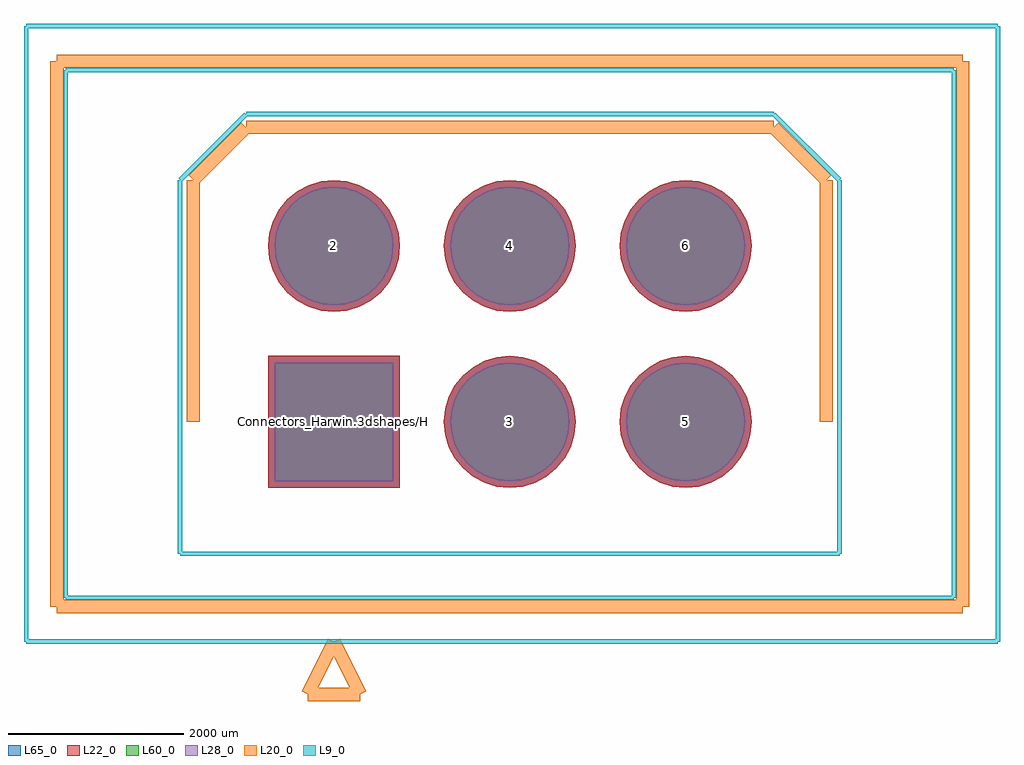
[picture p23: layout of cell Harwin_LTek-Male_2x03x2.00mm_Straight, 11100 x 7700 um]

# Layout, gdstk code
import gdstk
lib = gdstk.Library(unit=1e-6, precision=1e-09)
def R(c, l, rs):  # rectangles x0, y0, x1, y1
    for r in rs: c.add(gdstk.rectangle(r[:2], r[2:], *l))
def P(c, l, *ps):  # polygons
    for p in ps: c.add(gdstk.Polygon(p, *l))
L9_0 = (9, 0)
L20_0 = (20, 0)
L22_0 = (22, 0)
L28_0 = (28, 0)
L60_0 = (60, 0)
L65_0 = (65, 0)

harwin_ltek_male_2x03x2_ = lib.new_cell('Harwin_LTek-Male_2x03x2.00mm_Straight')
R(harwin_ltek_male_2x03x2_, L22_0, [(-750,-750,750,750)])
P(harwin_ltek_male_2x03x2_, L22_0, [(4750,2000),(4735.589,2146.318),(4692.91,2287.013),(4623.602,2416.678),(4530.33,2530.33),(4416.678,2623.602),(4287.013,2692.91),(4146.318,2735.589),(4000,2750),(3853.682,2735.589),(3712.987,2692.91),(3583.322,2623.602),(3469.67,2530.33),(3376.398,2416.678),(3307.09,2287.013),(3264.411,2146.318),(3250,2000),(3264.411,1853.682),(3307.09,1712.987),(3376.398,1583.322),(3469.67,1469.67),(3583.322,1376.398),(3712.987,1307.09),(3853.682,1264.411),(4000,1250),(4146.318,1264.411),(4287.013,1307.09),(4416.678,1376.398),(4530.33,1469.67),(4623.602,1583.322),(4692.91,1712.987),(4735.589,1853.682)],
  [(2750,2000),(2735.589,2146.318),(2692.91,2287.013),(2623.602,2416.678),(2530.33,2530.33),(2416.678,2623.602),(2287.013,2692.91),(2146.318,2735.589),(2000,2750),(1853.682,2735.589),(1712.987,2692.91),(1583.322,2623.602),(1469.67,2530.33),(1376.398,2416.678),(1307.09,2287.013),(1264.411,2146.318),(1250,2000),(1264.411,1853.682),(1307.09,1712.987),(1376.398,1583.322),(1469.67,1469.67),(1583.322,1376.398),(1712.987,1307.09),(1853.682,1264.411),(2000,1250),(2146.318,1264.411),(2287.013,1307.09),(2416.678,1376.398),(2530.33,1469.67),(2623.602,1583.322),(2692.91,1712.987),(2735.589,1853.682)],
  [(750,2000),(735.589,2146.318),(692.91,2287.013),(623.602,2416.678),(530.33,2530.33),(416.678,2623.602),(287.013,2692.91),(146.318,2735.589),(0,2750),(-146.318,2735.589),(-287.013,2692.91),(-416.678,2623.602),(-530.33,2530.33),(-623.602,2416.678),(-692.91,2287.013),(-735.589,2146.318),(-750,2000),(-735.589,1853.682),(-692.91,1712.987),(-623.602,1583.322),(-530.33,1469.67),(-416.678,1376.398),(-287.013,1307.09),(-146.318,1264.411),(0,1250),(146.318,1264.411),(287.013,1307.09),(416.678,1376.398),(530.33,1469.67),(623.602,1583.322),(692.91,1712.987),(735.589,1853.682)],
  [(4750,0),(4735.589,146.318),(4692.91,287.013),(4623.602,416.678),(4530.33,530.33),(4416.678,623.602),(4287.013,692.91),(4146.318,735.589),(4000,750),(3853.682,735.589),(3712.987,692.91),(3583.322,623.602),(3469.67,530.33),(3376.398,416.678),(3307.09,287.013),(3264.411,146.318),(3250,0),(3264.411,-146.318),(3307.09,-287.013),(3376.398,-416.678),(3469.67,-530.33),(3583.322,-623.602),(3712.987,-692.91),(3853.682,-735.589),(4000,-750),(4146.318,-735.589),(4287.013,-692.91),(4416.678,-623.602),(4530.33,-530.33),(4623.602,-416.678),(4692.91,-287.013),(4735.589,-146.318)],
  [(2750,0),(2735.589,146.318),(2692.91,287.013),(2623.602,416.678),(2530.33,530.33),(2416.678,623.602),(2287.013,692.91),(2146.318,735.589),(2000,750),(1853.682,735.589),(1712.987,692.91),(1583.322,623.602),(1469.67,530.33),(1376.398,416.678),(1307.09,287.013),(1264.411,146.318),(1250,0),(1264.411,-146.318),(1307.09,-287.013),(1376.398,-416.678),(1469.67,-530.33),(1583.322,-623.602),(1712.987,-692.91),(1853.682,-735.589),(2000,-750),(2146.318,-735.589),(2287.013,-692.91),(2416.678,-623.602),(2530.33,-530.33),(2623.602,-416.678),(2692.91,-287.013),(2735.589,-146.318)])
R(harwin_ltek_male_2x03x2_, L28_0, [(-675,-675,675,675)])
P(harwin_ltek_male_2x03x2_, L28_0, [(4675,2000),(4662.03,2131.686),(4623.619,2258.311),(4561.242,2375.01),(4477.297,2477.297),(4375.01,2561.242),(4258.311,2623.619),(4131.686,2662.03),(4000,2675),(3868.314,2662.03),(3741.689,2623.619),(3624.99,2561.242),(3522.703,2477.297),(3438.758,2375.01),(3376.381,2258.311),(3337.97,2131.686),(3325,2000),(3337.97,1868.314),(3376.381,1741.689),(3438.758,1624.99),(3522.703,1522.703),(3624.99,1438.758),(3741.689,1376.381),(3868.314,1337.97),(4000,1325),(4131.686,1337.97),(4258.311,1376.381),(4375.01,1438.758),(4477.297,1522.703),(4561.242,1624.99),(4623.619,1741.689),(4662.03,1868.314)],
  [(2675,2000),(2662.03,2131.686),(2623.619,2258.311),(2561.242,2375.01),(2477.297,2477.297),(2375.01,2561.242),(2258.311,2623.619),(2131.686,2662.03),(2000,2675),(1868.314,2662.03),(1741.689,2623.619),(1624.99,2561.242),(1522.703,2477.297),(1438.758,2375.01),(1376.381,2258.311),(1337.97,2131.686),(1325,2000),(1337.97,1868.314),(1376.381,1741.689),(1438.758,1624.99),(1522.703,1522.703),(1624.99,1438.758),(1741.689,1376.381),(1868.314,1337.97),(2000,1325),(2131.686,1337.97),(2258.311,1376.381),(2375.01,1438.758),(2477.297,1522.703),(2561.242,1624.99),(2623.619,1741.689),(2662.03,1868.314)],
  [(675,2000),(662.03,2131.686),(623.619,2258.311),(561.242,2375.01),(477.297,2477.297),(375.01,2561.242),(258.311,2623.619),(131.686,2662.03),(0,2675),(-131.686,2662.03),(-258.311,2623.619),(-375.01,2561.242),(-477.297,2477.297),(-561.242,2375.01),(-623.619,2258.311),(-662.03,2131.686),(-675,2000),(-662.03,1868.314),(-623.619,1741.689),(-561.242,1624.99),(-477.297,1522.703),(-375.01,1438.758),(-258.311,1376.381),(-131.686,1337.97),(0,1325),(131.686,1337.97),(258.311,1376.381),(375.01,1438.758),(477.297,1522.703),(561.242,1624.99),(623.619,1741.689),(662.03,1868.314)],
  [(4675,0),(4662.03,131.686),(4623.619,258.311),(4561.242,375.01),(4477.297,477.297),(4375.01,561.242),(4258.311,623.619),(4131.686,662.03),(4000,675),(3868.314,662.03),(3741.689,623.619),(3624.99,561.242),(3522.703,477.297),(3438.758,375.01),(3376.381,258.311),(3337.97,131.686),(3325,0),(3337.97,-131.686),(3376.381,-258.311),(3438.758,-375.01),(3522.703,-477.297),(3624.99,-561.242),(3741.689,-623.619),(3868.314,-662.03),(4000,-675),(4131.686,-662.03),(4258.311,-623.619),(4375.01,-561.242),(4477.297,-477.297),(4561.242,-375.01),(4623.619,-258.311),(4662.03,-131.686)],
  [(2675,0),(2662.03,131.686),(2623.619,258.311),(2561.242,375.01),(2477.297,477.297),(2375.01,561.242),(2258.311,623.619),(2131.686,662.03),(2000,675),(1868.314,662.03),(1741.689,623.619),(1624.99,561.242),(1522.703,477.297),(1438.758,375.01),(1376.381,258.311),(1337.97,131.686),(1325,0),(1337.97,-131.686),(1376.381,-258.311),(1438.758,-375.01),(1522.703,-477.297),(1624.99,-561.242),(1741.689,-623.619),(1868.314,-662.03),(2000,-675),(2131.686,-662.03),(2258.311,-623.619),(2375.01,-561.242),(2477.297,-477.297),(2561.242,-375.01),(2623.619,-258.311),(2662.03,-131.686)])
R(harwin_ltek_male_2x03x2_, L60_0, [(-675,-675,675,675)])
P(harwin_ltek_male_2x03x2_, L60_0, [(4675,2000),(4662.03,2131.686),(4623.619,2258.311),(4561.242,2375.01),(4477.297,2477.297),(4375.01,2561.242),(4258.311,2623.619),(4131.686,2662.03),(4000,2675),(3868.314,2662.03),(3741.689,2623.619),(3624.99,2561.242),(3522.703,2477.297),(3438.758,2375.01),(3376.381,2258.311),(3337.97,2131.686),(3325,2000),(3337.97,1868.314),(3376.381,1741.689),(3438.758,1624.99),(3522.703,1522.703),(3624.99,1438.758),(3741.689,1376.381),(3868.314,1337.97),(4000,1325),(4131.686,1337.97),(4258.311,1376.381),(4375.01,1438.758),(4477.297,1522.703),(4561.242,1624.99),(4623.619,1741.689),(4662.03,1868.314)],
  [(2675,2000),(2662.03,2131.686),(2623.619,2258.311),(2561.242,2375.01),(2477.297,2477.297),(2375.01,2561.242),(2258.311,2623.619),(2131.686,2662.03),(2000,2675),(1868.314,2662.03),(1741.689,2623.619),(1624.99,2561.242),(1522.703,2477.297),(1438.758,2375.01),(1376.381,2258.311),(1337.97,2131.686),(1325,2000),(1337.97,1868.314),(1376.381,1741.689),(1438.758,1624.99),(1522.703,1522.703),(1624.99,1438.758),(1741.689,1376.381),(1868.314,1337.97),(2000,1325),(2131.686,1337.97),(2258.311,1376.381),(2375.01,1438.758),(2477.297,1522.703),(2561.242,1624.99),(2623.619,1741.689),(2662.03,1868.314)],
  [(675,2000),(662.03,2131.686),(623.619,2258.311),(561.242,2375.01),(477.297,2477.297),(375.01,2561.242),(258.311,2623.619),(131.686,2662.03),(0,2675),(-131.686,2662.03),(-258.311,2623.619),(-375.01,2561.242),(-477.297,2477.297),(-561.242,2375.01),(-623.619,2258.311),(-662.03,2131.686),(-675,2000),(-662.03,1868.314),(-623.619,1741.689),(-561.242,1624.99),(-477.297,1522.703),(-375.01,1438.758),(-258.311,1376.381),(-131.686,1337.97),(0,1325),(131.686,1337.97),(258.311,1376.381),(375.01,1438.758),(477.297,1522.703),(561.242,1624.99),(623.619,1741.689),(662.03,1868.314)],
  [(4675,0),(4662.03,131.686),(4623.619,258.311),(4561.242,375.01),(4477.297,477.297),(4375.01,561.242),(4258.311,623.619),(4131.686,662.03),(4000,675),(3868.314,662.03),(3741.689,623.619),(3624.99,561.242),(3522.703,477.297),(3438.758,375.01),(3376.381,258.311),(3337.97,131.686),(3325,0),(3337.97,-131.686),(3376.381,-258.311),(3438.758,-375.01),(3522.703,-477.297),(3624.99,-561.242),(3741.689,-623.619),(3868.314,-662.03),(4000,-675),(4131.686,-662.03),(4258.311,-623.619),(4375.01,-561.242),(4477.297,-477.297),(4561.242,-375.01),(4623.619,-258.311),(4662.03,-131.686)],
  [(2675,0),(2662.03,131.686),(2623.619,258.311),(2561.242,375.01),(2477.297,477.297),(2375.01,561.242),(2258.311,623.619),(2131.686,662.03),(2000,675),(1868.314,662.03),(1741.689,623.619),(1624.99,561.242),(1522.703,477.297),(1438.758,375.01),(1376.381,258.311),(1337.97,131.686),(1325,0),(1337.97,-131.686),(1376.381,-258.311),(1438.758,-375.01),(1522.703,-477.297),(1624.99,-561.242),(1741.689,-623.619),(1868.314,-662.03),(2000,-675),(2131.686,-662.03),(2258.311,-623.619),(2375.01,-561.242),(2477.297,-477.297),(2561.242,-375.01),(2623.619,-258.311),(2662.03,-131.686)])
R(harwin_ltek_male_2x03x2_, L65_0, [(-750,-750,750,750)])
P(harwin_ltek_male_2x03x2_, L65_0, [(4750,2000),(4735.589,2146.318),(4692.91,2287.013),(4623.602,2416.678),(4530.33,2530.33),(4416.678,2623.602),(4287.013,2692.91),(4146.318,2735.589),(4000,2750),(3853.682,2735.589),(3712.987,2692.91),(3583.322,2623.602),(3469.67,2530.33),(3376.398,2416.678),(3307.09,2287.013),(3264.411,2146.318),(3250,2000),(3264.411,1853.682),(3307.09,1712.987),(3376.398,1583.322),(3469.67,1469.67),(3583.322,1376.398),(3712.987,1307.09),(3853.682,1264.411),(4000,1250),(4146.318,1264.411),(4287.013,1307.09),(4416.678,1376.398),(4530.33,1469.67),(4623.602,1583.322),(4692.91,1712.987),(4735.589,1853.682)],
  [(2750,2000),(2735.589,2146.318),(2692.91,2287.013),(2623.602,2416.678),(2530.33,2530.33),(2416.678,2623.602),(2287.013,2692.91),(2146.318,2735.589),(2000,2750),(1853.682,2735.589),(1712.987,2692.91),(1583.322,2623.602),(1469.67,2530.33),(1376.398,2416.678),(1307.09,2287.013),(1264.411,2146.318),(1250,2000),(1264.411,1853.682),(1307.09,1712.987),(1376.398,1583.322),(1469.67,1469.67),(1583.322,1376.398),(1712.987,1307.09),(1853.682,1264.411),(2000,1250),(2146.318,1264.411),(2287.013,1307.09),(2416.678,1376.398),(2530.33,1469.67),(2623.602,1583.322),(2692.91,1712.987),(2735.589,1853.682)],
  [(750,2000),(735.589,2146.318),(692.91,2287.013),(623.602,2416.678),(530.33,2530.33),(416.678,2623.602),(287.013,2692.91),(146.318,2735.589),(0,2750),(-146.318,2735.589),(-287.013,2692.91),(-416.678,2623.602),(-530.33,2530.33),(-623.602,2416.678),(-692.91,2287.013),(-735.589,2146.318),(-750,2000),(-735.589,1853.682),(-692.91,1712.987),(-623.602,1583.322),(-530.33,1469.67),(-416.678,1376.398),(-287.013,1307.09),(-146.318,1264.411),(0,1250),(146.318,1264.411),(287.013,1307.09),(416.678,1376.398),(530.33,1469.67),(623.602,1583.322),(692.91,1712.987),(735.589,1853.682)],
  [(4750,0),(4735.589,146.318),(4692.91,287.013),(4623.602,416.678),(4530.33,530.33),(4416.678,623.602),(4287.013,692.91),(4146.318,735.589),(4000,750),(3853.682,735.589),(3712.987,692.91),(3583.322,623.602),(3469.67,530.33),(3376.398,416.678),(3307.09,287.013),(3264.411,146.318),(3250,0),(3264.411,-146.318),(3307.09,-287.013),(3376.398,-416.678),(3469.67,-530.33),(3583.322,-623.602),(3712.987,-692.91),(3853.682,-735.589),(4000,-750),(4146.318,-735.589),(4287.013,-692.91),(4416.678,-623.602),(4530.33,-530.33),(4623.602,-416.678),(4692.91,-287.013),(4735.589,-146.318)],
  [(2750,0),(2735.589,146.318),(2692.91,287.013),(2623.602,416.678),(2530.33,530.33),(2416.678,623.602),(2287.013,692.91),(2146.318,735.589),(2000,750),(1853.682,735.589),(1712.987,692.91),(1583.322,623.602),(1469.67,530.33),(1376.398,416.678),(1307.09,287.013),(1264.411,146.318),(1250,0),(1264.411,-146.318),(1307.09,-287.013),(1376.398,-416.678),(1469.67,-530.33),(1583.322,-623.602),(1712.987,-692.91),(1853.682,-735.589),(2000,-750),(2146.318,-735.589),(2287.013,-692.91),(2416.678,-623.602),(2530.33,-530.33),(2623.602,-416.678),(2692.91,-287.013),(2735.589,-146.318)])
harwin_ltek_male_2x03x2_.add(gdstk.FlexPath([(300,-3100),(0,-2500)], 149.998, ends="flush", simple_path=True, layer=20, datatype=0))  # L20_0
harwin_ltek_male_2x03x2_.add(gdstk.FlexPath([(-300,-3100),(300,-3100)], 149.998, ends="flush", simple_path=True, layer=20, datatype=0))  # L20_0
harwin_ltek_male_2x03x2_.add(gdstk.FlexPath([(0,-2500),(-300,-3100)], 149.998, ends="flush", simple_path=True, layer=20, datatype=0))  # L20_0
harwin_ltek_male_2x03x2_.add(gdstk.FlexPath([(5000,3350),(2000,3350)], 149.998, ends="flush", simple_path=True, layer=20, datatype=0))  # L20_0
harwin_ltek_male_2x03x2_.add(gdstk.FlexPath([(5600,2750),(5000,3350)], 149.998, ends="flush", simple_path=True, layer=20, datatype=0))  # L20_0
harwin_ltek_male_2x03x2_.add(gdstk.FlexPath([(5600,0),(5600,2750)], 149.998, ends="flush", simple_path=True, layer=20, datatype=0))  # L20_0
harwin_ltek_male_2x03x2_.add(gdstk.FlexPath([(-1000,3350),(2000,3350)], 149.998, ends="flush", simple_path=True, layer=20, datatype=0))  # L20_0
harwin_ltek_male_2x03x2_.add(gdstk.FlexPath([(-1600,2750),(-1000,3350)], 149.998, ends="flush", simple_path=True, layer=20, datatype=0))  # L20_0
harwin_ltek_male_2x03x2_.add(gdstk.FlexPath([(-1600,0),(-1600,2750)], 149.998, ends="flush", simple_path=True, layer=20, datatype=0))  # L20_0
harwin_ltek_male_2x03x2_.add(gdstk.FlexPath([(5750,-1500),(-1750,-1500)], 50, ends="flush", simple_path=True, layer=9, datatype=0))  # L9_0
harwin_ltek_male_2x03x2_.add(gdstk.FlexPath([(5750,2750),(5750,-1500)], 50, ends="flush", simple_path=True, layer=9, datatype=0))  # L9_0
harwin_ltek_male_2x03x2_.add(gdstk.FlexPath([(5000,3500),(5750,2750)], 50, ends="flush", simple_path=True, layer=9, datatype=0))  # L9_0
harwin_ltek_male_2x03x2_.add(gdstk.FlexPath([(-1000,3500),(5000,3500)], 50, ends="flush", simple_path=True, layer=9, datatype=0))  # L9_0
harwin_ltek_male_2x03x2_.add(gdstk.FlexPath([(-1750,2750),(-1000,3500)], 50, ends="flush", simple_path=True, layer=9, datatype=0))  # L9_0
harwin_ltek_male_2x03x2_.add(gdstk.FlexPath([(-1750,-1500),(-1750,2750)], 50, ends="flush", simple_path=True, layer=9, datatype=0))  # L9_0
harwin_ltek_male_2x03x2_.add(gdstk.FlexPath([(7050,4000),(-3050,4000)], 50, ends="flush", simple_path=True, layer=9, datatype=0))  # L9_0
harwin_ltek_male_2x03x2_.add(gdstk.FlexPath([(7050,-2000),(7050,4000)], 50, ends="flush", simple_path=True, layer=9, datatype=0))  # L9_0
harwin_ltek_male_2x03x2_.add(gdstk.FlexPath([(-3050,-2000),(7050,-2000)], 50, ends="flush", simple_path=True, layer=9, datatype=0))  # L9_0
harwin_ltek_male_2x03x2_.add(gdstk.FlexPath([(-3050,4000),(-3050,-2000)], 50, ends="flush", simple_path=True, layer=9, datatype=0))  # L9_0
harwin_ltek_male_2x03x2_.add(gdstk.FlexPath([(7550,4500),(-3500,4500)], 50, ends="flush", simple_path=True, layer=9, datatype=0))  # L9_0
harwin_ltek_male_2x03x2_.add(gdstk.FlexPath([(7550,-2500),(7550,4500)], 50, ends="flush", simple_path=True, layer=9, datatype=0))  # L9_0
harwin_ltek_male_2x03x2_.add(gdstk.FlexPath([(-3500,-2500),(7550,-2500)], 50, ends="flush", simple_path=True, layer=9, datatype=0))  # L9_0
harwin_ltek_male_2x03x2_.add(gdstk.FlexPath([(-3500,4500),(-3500,-2500)], 50, ends="flush", simple_path=True, layer=9, datatype=0))  # L9_0
harwin_ltek_male_2x03x2_.add(gdstk.FlexPath([(7150,4100),(-3150,4100)], 149.998, ends="flush", simple_path=True, layer=20, datatype=0))  # L20_0
harwin_ltek_male_2x03x2_.add(gdstk.FlexPath([(7150,-2100),(7150,4100)], 149.998, ends="flush", simple_path=True, layer=20, datatype=0))  # L20_0
harwin_ltek_male_2x03x2_.add(gdstk.FlexPath([(-3150,-2100),(7150,-2100)], 149.998, ends="flush", simple_path=True, layer=20, datatype=0))  # L20_0
harwin_ltek_male_2x03x2_.add(gdstk.FlexPath([(-3150,4100),(-3150,-2100)], 149.998, ends="flush", simple_path=True, layer=20, datatype=0))  # L20_0
harwin_ltek_male_2x03x2_.add(gdstk.Label('Connectors_Harwin.3dshapes/Harwin_LTek-Male_2x03x2.00mm_Straight.wrl', (0,0), layer=12, texttype=0))
harwin_ltek_male_2x03x2_.add(gdstk.Label('6', (4000,2000), layer=28, texttype=0))
harwin_ltek_male_2x03x2_.add(gdstk.Label('4', (2000,2000), layer=28, texttype=0))
harwin_ltek_male_2x03x2_.add(gdstk.Label('2', (0,2000), layer=28, texttype=0))
harwin_ltek_male_2x03x2_.add(gdstk.Label('5', (4000,0), layer=28, texttype=0))
harwin_ltek_male_2x03x2_.add(gdstk.Label('3', (2000,0), layer=28, texttype=0))
harwin_ltek_male_2x03x2_.add(gdstk.Label('1', (0,0), layer=28, texttype=0))
harwin_ltek_male_2x03x2_.add(gdstk.Label('type', (2000,-4000), layer=9, texttype=0))
harwin_ltek_male_2x03x2_.add(gdstk.Label('devicename', (2000,5500), layer=9, texttype=0))

lib.write_gds('Harwin_LTek-Male_2x03x2.00mm_Straight.gds')
